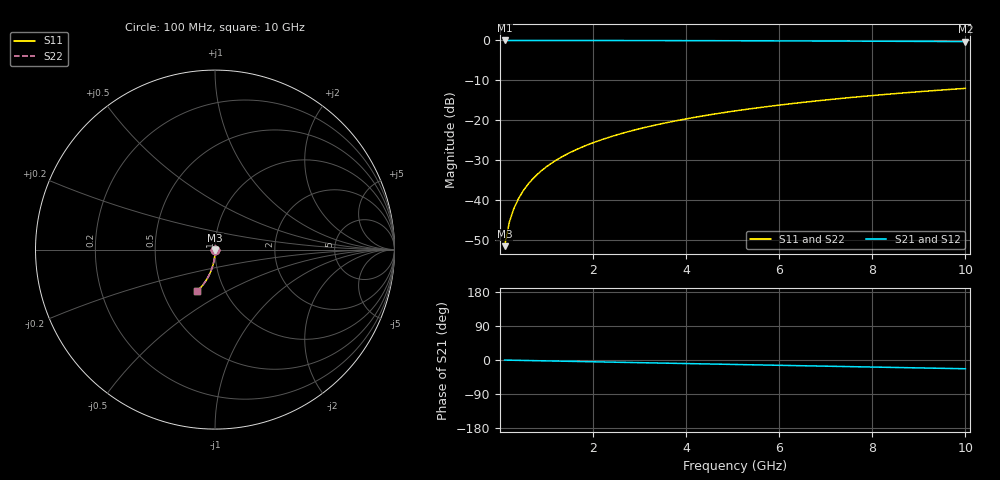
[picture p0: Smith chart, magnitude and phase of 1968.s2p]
# Hz S RI R 50.00
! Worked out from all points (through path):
!   100 points, 100 MHz to 10 GHz, reference 50 ohm
!   highest |S21| = 0.00 dB at 100 MHz (marker M1); lowest = -0.3 dB at 10 GHz (marker M2)
!   group delay of S21, straight-line fit = 6.43 ps
!   lowest |S11| = -51.5 dB at 100 MHz (marker M3), VSWR 1.01, Z = 50 - j0.262 ohm
!   |S11| at or under -10 dB: start of sweep to end of sweep
!   |S22| runs from -51.5 to -12.0 dB; largest |S21 - S12| = 0
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1e8  0.000388 -0.00262  0.9996 -0.00409  0.9996 -0.00409  0.000388 -0.00262
2e8  0.000355 -0.00524  0.9995 -0.00818  0.9995 -0.00818  0.000355 -0.00524
3e8  0.0003 -0.00786  0.9995 -0.0123  0.9995 -0.0123  0.0003 -0.00786
4e8  0.000224 -0.0105  0.9994 -0.0164  0.9994 -0.0164  0.000224 -0.0105
5e8  0.000126 -0.0131  0.9993 -0.0205  0.9993 -0.0205  0.000126 -0.0131
6e8  5.79e-06 -0.0157  0.9991 -0.0245  0.9991 -0.0245  5.79e-06 -0.0157
7e8  -0.000136 -0.0183  0.999 -0.0286  0.999 -0.0286  -0.000136 -0.0183
8e8  -0.000298 -0.0209  0.9988 -0.0327  0.9988 -0.0327  -0.000298 -0.0209
9e8  -0.000483 -0.0236  0.9986 -0.0368  0.9986 -0.0368  -0.000483 -0.0236
1.1e9  -0.000915 -0.0288  0.9981 -0.045  0.9981 -0.045  -0.000915 -0.0288
1.4e9  -0.00172 -0.0366  0.9972 -0.0572  0.9972 -0.0572  -0.00172 -0.0366
1.8e9  -0.0031 -0.047  0.9957 -0.0735  0.9957 -0.0735  -0.0031 -0.047
2.1e9  -0.00436 -0.0547  0.9943 -0.0856  0.9943 -0.0856  -0.00436 -0.0547
2.5e9  -0.00632 -0.065  0.9921 -0.1018  0.9921 -0.1018  -0.00632 -0.065
2.9e9  -0.00862 -0.0752  0.9896 -0.1179  0.9896 -0.1179  -0.00862 -0.0752
3.4e9  -0.012 -0.0878  0.9859 -0.1379  0.9859 -0.1379  -0.012 -0.0878
4.2e9  -0.0184 -0.1077  0.9789 -0.1696  0.9789 -0.1696  -0.0184 -0.1077
5.1e9  -0.027 -0.1294  0.9692 -0.2046  0.9692 -0.2046  -0.027 -0.1294
5.9e9  -0.036 -0.148  0.9593 -0.2351  0.9593 -0.2351  -0.036 -0.148
6.7e9  -0.0461 -0.166  0.948 -0.265  0.948 -0.265  -0.0461 -0.166
8.4e9  -0.0711 -0.2014  0.9202 -0.3258  0.9202 -0.3258  -0.0711 -0.2014
1e10  -0.0983 -0.231  0.8896 -0.3794  0.8896 -0.3794  -0.0983 -0.231
